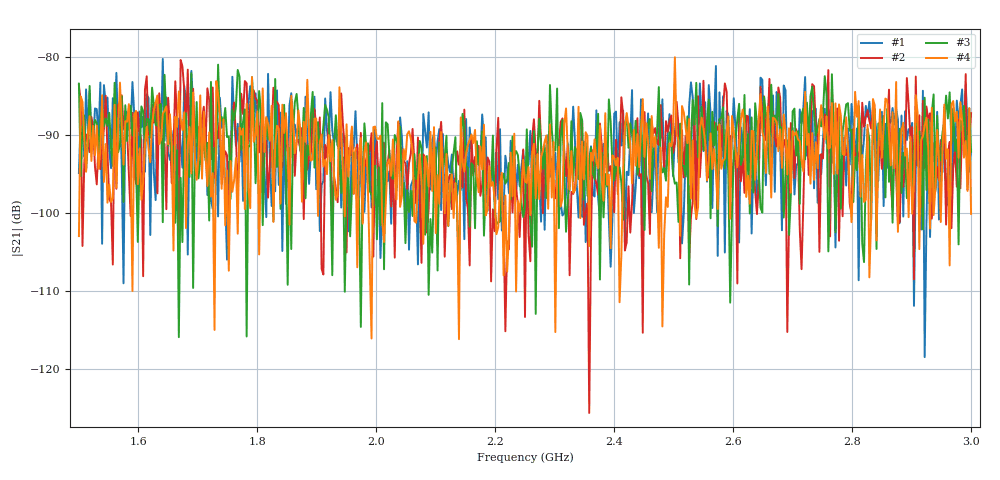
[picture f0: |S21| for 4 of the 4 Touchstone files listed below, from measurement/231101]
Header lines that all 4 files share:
! CHANNEL.1
! TR.MEASUREMENT
! CORRECTED.DATA
# HZ S DB R 50.0
! FREQ.HZ  S11DB  S11A  S21DB  S21A  S12DB  S12A  S22DB  S22A
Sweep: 1.5 GHz to 3 GHz
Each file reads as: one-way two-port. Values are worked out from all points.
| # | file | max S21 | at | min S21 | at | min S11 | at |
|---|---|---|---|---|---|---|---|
| 1 | ant_2_32_100R.s2p | -80.20 dB | 1.641 GHz | -118.5 dB | 2.922 GHz | -33.1 dB | 2.316 GHz |
| 2 | ant_2_32_infR.s2p | -80.32 dB | 1.671 GHz | -125.7 dB | 2.358 GHz | -40.4 dB | 2.277 GHz |
| 3 | ant_2_42_100R.s2p | -80.92 dB | 1.734 GHz | -115.9 dB | 1.668 GHz | -57.5 dB | 2.391 GHz |
| 4 | ant_2_42_infR.s2p | -79.97 dB | 2.502 GHz | -116.2 dB | 2.139 GHz | -32.0 dB | 2.376 GHz |
